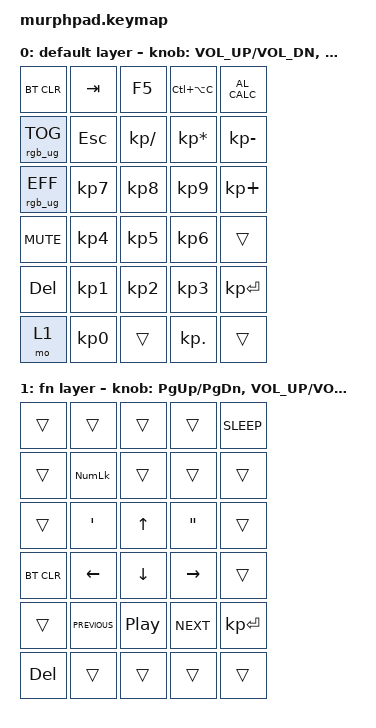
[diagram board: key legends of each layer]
/*
 * Copyright (c) 2021 The ZMK Contributors
 *
 * SPDX-License-Identifier: MIT
 */

#include <behaviors.dtsi>
#include <dt-bindings/zmk/keys.h>
#include <dt-bindings/zmk/bt.h>
#include <dt-bindings/zmk/rgb.h>


#define TIMEOUT 300

&encoder_1 {
    status = "okay";
};

&encoder_2 {
    status = "okay";
};

/ {
    combos {
        compatible = "zmk,combos";
        combo_btclr {
            timeout-ms = <TIMEOUT>;
            key-positions = <1 6>;
            bindings = <&bt BT_CLR>;
        };
        combo_reset {
            timeout-ms = <TIMEOUT>;
            key-positions = <1 3>;
            bindings = <&reset>;
        };
        combo_bootloader {
            timeout-ms = <TIMEOUT>;
            key-positions = <1 2>;
            bindings = <&bootloader>;
        };
        combo_bt_nxt {
            timeout-ms = <TIMEOUT>;
            key-positions = <1 4>;
            bindings = <&kp C_SLEEP>;
        };
    };
    
    sensors {
        compatible = "zmk,keymap-sensors";
        sensors = <&encoder_1 &encoder_2>;
    };


    keymap0: keymap {
        compatible = "zmk,keymap";

        default_layer {
            label = "default layer";
            bindings = <
                &bt BT_CLR       &kp TAB      &kp F5          &kp LC(LA(C))     &kp C_AL_CALC  
                &rgb_ug RGB_TOG  &kp ESC      &kp KP_DIVIDE   &kp KP_MULTIPLY   &kp KP_MINUS    
                &rgb_ug RGB_EFF  &kp KP_N7    &kp KP_N8       &kp KP_N9         &kp KP_PLUS   
                &kp C_MUTE       &kp KP_N4    &kp KP_N5       &kp KP_N6         &trans
                &kp DEL          &kp KP_N1    &kp KP_N2       &kp KP_N3         &kp KP_ENTER
                &mo 1            &kp KP_N0    &trans          &kp KP_DOT        &trans
            >;
            sensor-bindings = <&inc_dec_kp C_VOL_UP C_VOL_DN &inc_dec_kp PG_UP PG_DN>;

        }; 
        
        fn_layer {
            label = "fn layer";
            bindings = <
                &trans      &trans     &trans         &trans          &kp C_SLEEP  
                &trans      &kp KP_NUM &trans         &trans          &trans     
                &trans      &kp APOS     &kp UP       &kp DQT         &trans
                &bt BT_CLR  &kp LEFT   &kp DOWN       &kp RIGHT       &trans    
                &trans      &kp C_PREVIOUS   &kp C_PP &kp C_NEXT      &kp KP_ENTER
                &kp DEL     &trans     &trans         &trans          &trans           
            >;  
            sensor-bindings = <&inc_dec_kp PG_UP PG_DN &inc_dec_kp C_VOL_UP C_VOL_DN>;
                
        };
    };
};
